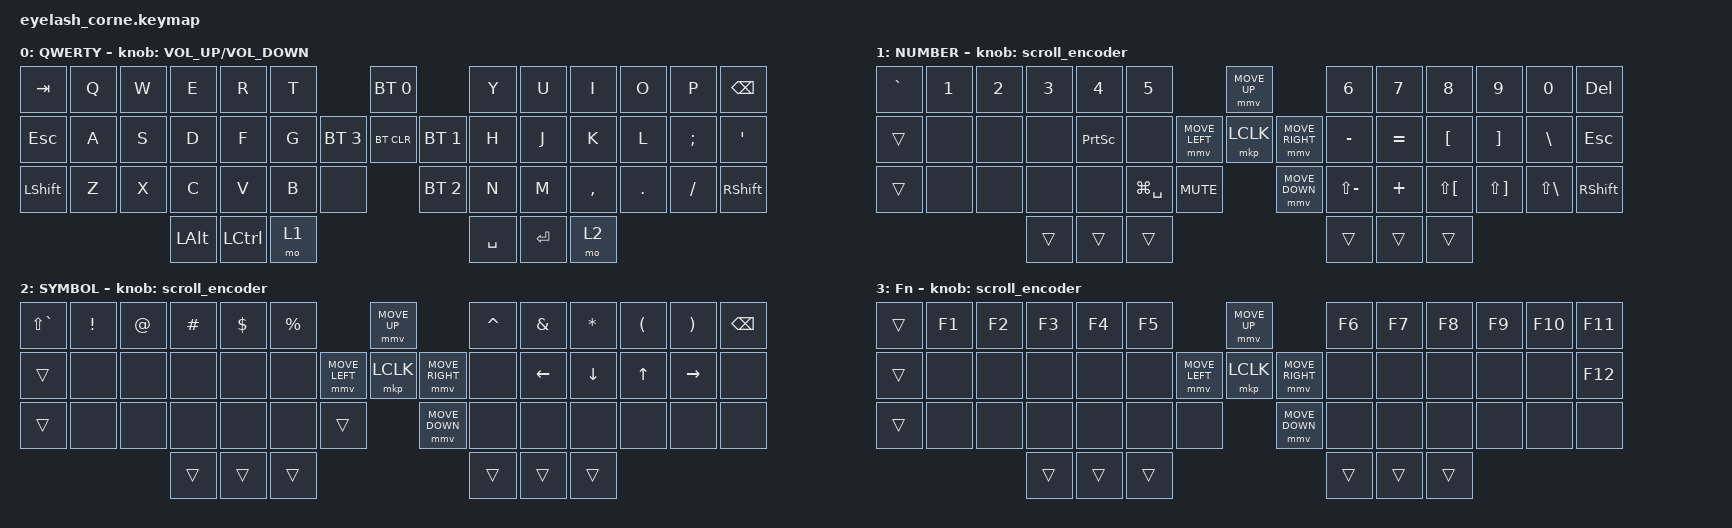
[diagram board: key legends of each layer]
#define ZMK_POINTING_DEFAULT_MOVE_VAL 1200  // 600
#define ZMK_POINTING_DEFAULT_SCRL_VAL 25   // 10

#include <input/processors.dtsi>
#include <zephyr/dt-bindings/input/input-event-codes.h>
#include <behaviors.dtsi>
#include <dt-bindings/zmk/bt.h>
#include <dt-bindings/zmk/keys.h>
#include <dt-bindings/zmk/pointing.h>
#include <dt-bindings/zmk/rgb.h>

&mmv_input_listener { input-processors = <&zip_xy_scaler 2 1>; };

&msc_input_listener { input-processors = <&zip_scroll_scaler 2 1>; };

&msc {
    acceleration-exponent = <1>;      // 0
    time-to-max-speed-ms = <100>;       // 300
    delay-ms = <0>;                   // 0
};

&mmv {
    time-to-max-speed-ms = <500>;
    acceleration-exponent = <1>;
    trigger-period-ms = <16>;
};

/ {
    behaviors {
        td0: td0 {
            compatible = "zmk,behavior-tap-dance";
            display-name = "Shift/Caps Lock Tap Dance";
            #binding-cells = <0>;
            bindings = <&kp LEFT_SHIFT>, <&kp CAPS>;
        };
    };

    rgb_encoder: rgb_encoder {
        compatible = "zmk,behavior-sensor-rotate";
        #sensor-binding-cells = <0>;
        bindings = <&rgb_ug RGB_BRI>, <&rgb_ug RGB_BRD>;
    };

    scroll_encoder: scroll_encoder {
        compatible = "zmk,behavior-sensor-rotate";
        #sensor-binding-cells = <0>;
        bindings = <&msc SCRL_DOWN>, <&msc SCRL_UP>;

        tap-ms = <100>;
    };

    keymap {
        compatible = "zmk,keymap";

        default_layer {
            display-name = "QWERTY";
            bindings = <
&kp TAB         &kp Q  &kp W  &kp E         &kp R             &kp T                         &bt BT_SEL 0                &kp Y      &kp U      &kp I      &kp O    &kp P     &kp BSPC
&kp ESCAPE      &kp A  &kp S  &kp D         &kp F             &kp G           &bt BT_SEL 3  &bt BT_CLR    &bt BT_SEL 1  &kp H      &kp J      &kp K      &kp L    &kp SEMI  &kp SQT
&kp LEFT_SHIFT  &kp Z  &kp X  &kp C         &kp V             &kp B  &none                  &bt BT_SEL 2                &kp N      &kp M      &kp COMMA  &kp DOT  &kp FSLH  &kp RIGHT_SHIFT
                              &kp LEFT_ALT  &kp LEFT_CONTROL  &mo 1                                                     &kp SPACE  &kp ENTER  &mo 2
            >;

            sensor-bindings = <&inc_dec_kp C_VOLUME_UP C_VOLUME_DOWN>;
        };

        lower_layer {
            display-name = "NUMBER";
            bindings = <
&kp GRAVE  &kp N1  &kp N2  &kp N3  &kp N4           &kp N5                                       &mmv MOVE_UP                     &kp N6         &kp N7     &kp N8                &kp N9                 &kp N0             &kp DEL
&trans     &none   &none   &none   &kp PRINTSCREEN  &none                        &mmv MOVE_LEFT  &mkp LCLK       &mmv MOVE_RIGHT  &kp MINUS      &kp EQUAL  &kp LEFT_BRACKET      &kp RIGHT_BRACKET      &kp BACKSLASH      &kp ESCAPE
&trans     &none   &none   &none   &none            &kp LG(SPACE)  &kp C_MUTE                    &mmv MOVE_DOWN                   &kp LS(MINUS)  &kp PLUS   &kp LS(LEFT_BRACKET)  &kp LS(RIGHT_BRACKET)  &kp LS(BACKSLASH)  &kp RIGHT_SHIFT
                           &trans  &trans           &trans                                                                        &trans         &trans     &trans
            >;

            sensor-bindings = <&scroll_encoder>;
        };

        raise_layer {
            display-name = "SYMBOL";
            bindings = <
&kp LS(GRAVE)  &kp EXCL  &kp AT  &kp HASH  &kp DLLR  &kp PRCNT                            &mmv MOVE_UP                     &kp CARET  &kp AMPS  &kp ASTRK  &kp LPAR      &kp RPAR   &kp BSPC
&trans         &none     &none   &none     &none     &none                &mmv MOVE_LEFT  &mkp LCLK       &mmv MOVE_RIGHT  &none      &kp LEFT  &kp DOWN   &kp UP_ARROW  &kp RIGHT  &none
&trans         &none     &none   &none     &none     &none      &trans                    &mmv MOVE_DOWN                   &none      &none     &none      &none         &none      &none
                                 &trans    &trans    &trans                                                                &trans     &trans    &trans
            >;

            sensor-bindings = <&scroll_encoder>;
        };

        layer_3 {
            display-name = "Fn";
            bindings = <
&trans  &kp F1  &kp F2  &kp F3  &kp F4  &kp F5                           &mmv MOVE_UP                     &kp F6  &kp F7  &kp F8  &kp F9  &kp F10  &kp F11
&trans  &none   &none   &none   &none   &none            &mmv MOVE_LEFT  &mkp LCLK       &mmv MOVE_RIGHT  &none   &none   &none   &none   &none    &kp F12
&trans  &none   &none   &none   &none   &none   &none                    &mmv MOVE_DOWN                   &none   &none   &none   &none   &none    &none
                        &trans  &trans  &trans                                                            &trans  &trans  &trans
            >;

            sensor-bindings = <&scroll_encoder>;
        };
    };

    conditional_layers {
        compatible = "zmk,conditional-layers";

        FnAct {
            if-layers = <1 2>;
            then-layer = <3>;
        };
    };
};
